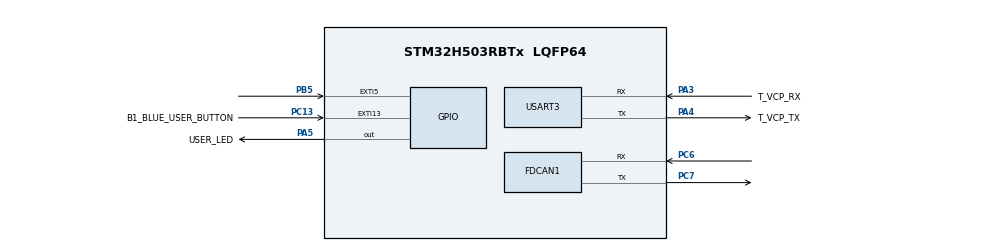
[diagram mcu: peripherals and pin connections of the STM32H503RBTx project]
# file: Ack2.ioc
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BOOTPATH.BootPathName=LEGACY
BOOTPATH.UserSelectedBootPath=LEGACY
FDCAN1.CalculateBaudRateNominal=500000
FDCAN1.CalculateTimeBitNominal=2000
FDCAN1.CalculateTimeQuantumNominal=125.0
FDCAN1.NominalPrescaler=25
FDCAN1.NominalTimeSeg1=13
FDCAN1.NominalTimeSeg2=2
Mcu.Family=STM32H5
Mcu.Name=STM32H503RBTx
Mcu.Package=LQFP64
NVIC.EXTI13_IRQn=true\:0\:0\:false\:false\:true\:true\:true\:true
NVIC.EXTI5_IRQn=true\:0\:0\:false\:false\:true\:true\:true\:true
NVIC.FDCAN1_IT0_IRQn=true\:0\:0\:false\:false\:true\:true\:true\:true
NVIC.PriorityGroup=NVIC_PRIORITYGROUP_4
NVIC.USART3_IRQn=true\:0\:0\:false\:false\:true\:true\:true\:true
PA3.GPIO_Label=T_VCP_RX
PA3.Mode=Asynchronous
PA3.Signal=USART3_RX
PA4.GPIO_Label=T_VCP_TX
PA4.Mode=Asynchronous
PA4.Signal=USART3_TX
PA5.GPIO_Label=USER_LED
PA5.Signal=GPIO_Output
PB5.GPIO_PuPd=GPIO_PULLUP
PB5.Signal=GPXTI5
PC13.GPIO_Label=B1_BLUE_USER_BUTTON
PC13.Signal=GPXTI13
PC6.Mode=FDCAN_Activate
PC6.Signal=FDCAN1_RX
PC7.Mode=FDCAN_Activate
PC7.Signal=FDCAN1_TX
PH0-OSC_IN(PH0).Mode=HSE-External-Oscillator
PH0-OSC_IN(PH0).Signal=RCC_OSC_IN
PH1-OSC_OUT(PH1).Mode=HSE-External-Oscillator
PH1-OSC_OUT(PH1).Signal=RCC_OSC_OUT
ProjectManager.HeapSize=0x200
ProjectManager.StackSize=0x400
ProjectManager.TargetToolchain=STM32CubeIDE
RCC.ADCFreq_Value=200000000
RCC.AHBFreq_Value=200000000
RCC.APB1Freq_Value=200000000
RCC.APB1TimFreq_Value=200000000
RCC.APB2Freq_Value=200000000
RCC.APB2TimFreq_Value=200000000
RCC.APB3Freq_Value=200000000
RCC.CSI_VALUE=4000000
RCC.CortexFreq_Value=200000000
RCC.EPOD_VALUE=24000000
RCC.FDCANClockSelection=RCC_FDCANCLKSOURCE_PLL1Q
RCC.HCLKFreq_Value=200000000
RCC.HSE_VALUE=24000000
RCC.HSI48_VALUE=48000000
RCC.HSIDiv=RCC_HSI_DIV1
RCC.HSI_VALUE=64000000
RCC.LSE_VALUE=32768
RCC.LSIRC_VALUE=32000
RCC.PLLFRACN=0
RCC.PLLM=3
RCC.PLLN=50
RCC.PLLSourceVirtual=RCC_PLL1_SOURCE_HSE
RCC.SYSCLKFreq_VALUE=200000000
RCC.SYSCLKSource=RCC_SYSCLKSOURCE_PLLCLK
RCC.USBFreq_Value=48000000
RCC.VCOOutputFreq_Value=400000000
USART3.VirtualMode-Asynchronous=VM_ASYNC
VP_BOOTPATH_VS_BOOTPATH.Mode=BP_Activate
VP_CORTEX_M33_NS_VS_Hclk.Mode=Hclk_Mode
VP_MEMORYMAP_VS_MEMORYMAP.Mode=CurAppReg
VP_PWR_VS_DBSignals.Mode=DisableDeadBatterySignals
VP_PWR_VS_LPOM.Mode=PowerOptimisation
VP_PWR_VS_SECSignals.Mode=Security/Privilege
board=NUCLEO-H503RB

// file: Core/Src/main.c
#include "main.h"
#include <stdio.h>

#define NODE_B

/*This is about filter not regard ack error*/

FDCAN_HandleTypeDef hfdcan1;
UART_HandleTypeDef huart3;
static void MX_FDCAN1_Init(void);
void SetFilter(uint16_t ID ,uint16_t msk);
void Test_Priority();
void TX_Send_CAN();
void Print_CAN_Error();

volatile uint8_t counter = 0;

volatile uint8_t value = 0;
typedef struct{
	FDCAN_TxHeaderTypeDef   TxHeader;
	FDCAN_RxHeaderTypeDef   RxHeader;
	uint32_t msgID;
	uint8_t dataTx[2];
	uint8_t dataRx[2];
} CAN_SET;

CAN_SET CAN_Payload;

int main(void)
{
  /* MCU Configuration--------------------------------------------------------*/

  /* Reset of all peripherals, Initializes the Flash interface and the Systick. */
  HAL_Init();
  /* Configure the system clock */
  SystemClock_Config();
  /* Initialize all configured peripherals */
  MX_GPIO_Init();
  MX_FDCAN1_Init();
  MX_USART3_UART_Init();

  CAN_Payload.dataTx[0] = 0x0;
  /* Infinite loop */
  while (1)
  {

  }
}

static void MX_FDCAN1_Init(void)
{

  hfdcan1.Instance = FDCAN1;
  hfdcan1.Init.ClockDivider = FDCAN_CLOCK_DIV1;
  hfdcan1.Init.FrameFormat = FDCAN_FRAME_CLASSIC;
  hfdcan1.Init.Mode = FDCAN_MODE_NORMAL;
  hfdcan1.Init.AutoRetransmission = DISABLE;
  hfdcan1.Init.TransmitPause = DISABLE;
  hfdcan1.Init.ProtocolException = DISABLE;
  hfdcan1.Init.NominalPrescaler = 25;
  hfdcan1.Init.NominalSyncJumpWidth = 1;
  hfdcan1.Init.NominalTimeSeg1 = 13;
  hfdcan1.Init.NominalTimeSeg2 = 2;
  hfdcan1.Init.DataPrescaler = 1;
  hfdcan1.Init.DataSyncJumpWidth = 1;
  hfdcan1.Init.DataTimeSeg1 = 1;
  hfdcan1.Init.DataTimeSeg2 = 1;
  hfdcan1.Init.StdFiltersNbr = 1;
  hfdcan1.Init.ExtFiltersNbr = 0;
  hfdcan1.Init.TxFifoQueueMode = FDCAN_TX_FIFO_OPERATION;
  if (HAL_FDCAN_Init(&hfdcan1) != HAL_OK)
  {
    Error_Handler();
  }

  SetFilter(0x105,0x7FF);
//  FDCAN_FilterTypeDef sFilterConfig;
//
//  sFilterConfig.IdType = FDCAN_STANDARD_ID;
//  sFilterConfig.FilterIndex = 0;
//  sFilterConfig.FilterType = FDCAN_FILTER_MASK;
//  sFilterConfig.FilterConfig = FDCAN_FILTER_TO_RXFIFO0;
//  sFilterConfig.FilterID1 = 0x10A;     // ID ที่จะรับ
//  sFilterConfig.FilterID2 = 0x7FF;    // Mask ทุกบิตต้องตรง

  // ตั้งค่าให้ reject ทุกอย่างนอกจากตรง filter

  if (HAL_FDCAN_Start(&hfdcan1) != HAL_OK) {
  	 /* Notification Error */
  	Error_Handler();
  }
  if (HAL_FDCAN_ActivateNotification(&hfdcan1, FDCAN_IT_RX_FIFO0_NEW_MESSAGE, 0) != HAL_OK)
  {
	/* Notification Error */
	Error_Handler();
  }
  /* USER CODE END FDCAN1_Init 2 */
}

/* USER CODE BEGIN 4 */
void SetFilter(uint16_t ID ,uint16_t msk){
	FDCAN_FilterTypeDef sFilterConfig;

	sFilterConfig.IdType = FDCAN_STANDARD_ID;
	sFilterConfig.FilterIndex = 0;
	sFilterConfig.FilterType = FDCAN_FILTER_MASK;
	sFilterConfig.FilterConfig = FDCAN_FILTER_TO_RXFIFO0;
	sFilterConfig.FilterID1 = ID;
	sFilterConfig.FilterID2 = msk;

	HAL_FDCAN_ConfigGlobalFilter(&hfdcan1,
	      FDCAN_REJECT,
	      FDCAN_REJECT,
	      FDCAN_REJECT_REMOTE,
	      FDCAN_REJECT_REMOTE
	  );

	if (HAL_FDCAN_ConfigFilter(&hfdcan1, &sFilterConfig) != HAL_OK)
	{
	  /* Filter configuration Error */
	  Error_Handler();
	}
}

void Test_Ack(){
	CAN_Payload.msgID = 0x1AA;
	TX_Send_CAN();
}

void TX_Send_CAN(){

    /* ----- Prepare CAN data --------------------------------------- */

    CAN_Payload.TxHeader.IdType = FDCAN_STANDARD_ID;
    CAN_Payload.TxHeader.Identifier = CAN_Payload.msgID; //CAN_Payload.msgID
    CAN_Payload.TxHeader.TxFrameType = FDCAN_DATA_FRAME;
    CAN_Payload.TxHeader.DataLength = FDCAN_DLC_BYTES_1;        // 8-byte payloaD
    CAN_Payload.TxHeader.ErrorStateIndicator = FDCAN_ESI_ACTIVE;
    CAN_Payload.TxHeader.BitRateSwitch = FDCAN_BRS_OFF;         // Disable BRS
    CAN_Payload.TxHeader.FDFormat = FDCAN_CLASSIC_CAN;          // Use Classical CAN frame
    CAN_Payload.TxHeader.TxEventFifoControl = FDCAN_NO_TX_EVENTS;
    CAN_Payload.TxHeader.MessageMarker = 0;

    CAN_Payload.dataTx[0] ^= 1;

    if (HAL_FDCAN_AddMessageToTxFifoQ(&hfdcan1, &CAN_Payload.TxHeader,CAN_Payload.dataTx)!= HAL_OK)
    {
    	Error_Handler();
    }
}

void HAL_GPIO_EXTI_Falling_Callback(uint16_t GPIO_Pin){

	if(GPIO_Pin == GPIO_PIN_5) {
	#ifdef NODE_A
		Test_Ack();
		Print_CAN_Error();
	#endif
	}
	if(GPIO_Pin == B1_BLUE_USER_BUTTON_Pin){

	#ifdef NODE_B
			if (counter == 1){
				 SetFilter(0x1AA,0x7FF);
				 value++;
			}else{
				 SetFilter(0x10F,0x7FF);
			}
			counter ^= 1;
	#endif
	}
}

void HAL_FDCAN_RxFifo0Callback(FDCAN_HandleTypeDef *hfdcan, uint32_t RxFifo0ITs)
{
	if((RxFifo0ITs & FDCAN_IT_RX_FIFO0_NEW_MESSAGE) != RESET)
	{
		/* Retreive Rx messages from RX FIFO0 */
		if (HAL_FDCAN_GetRxMessage(hfdcan, FDCAN_RX_FIFO0, &CAN_Payload.RxHeader,CAN_Payload.dataRx) != HAL_OK)
		{
			/* Reception Error */
			Error_Handler();
		}
		if (HAL_FDCAN_ActivateNotification(hfdcan, FDCAN_IT_RX_FIFO0_NEW_MESSAGE, 0) != HAL_OK)
		{
			/* Notification Error */
			Error_Handler();
		}
		printf("Received ID: 0x%03lX\n", CAN_Payload.RxHeader.Identifier);
		if(CAN_Payload.dataRx[0] == 0x1){
			HAL_GPIO_TogglePin(GPIOA, GPIO_PIN_5);
		}
	}
}

void Print_CAN_Error(void) {
    uint32_t lec = (FDCAN1->PSR >> 0) & 0x7;

    switch (lec) {
        case 0b000:
            printf("No CAN error occurred\r\n");
            break;
        case 0b001:
            printf("Stuff error: More than 5 equal bits in a row\r\n");
            break;
        case 0b010:
            printf("Form error: Wrong format in received frame\r\n");
            break;
        case 0b011:
            printf("Ack error: No ACK from other node\r\n");
            break;
        case 0b100:
            printf("Bit1 error: Sent recessive, bus was dominant\r\n");
            break;
        case 0b101:
            printf("Bit0 error: Sent dominant, bus was recessive\r\n");
            break;
        case 0b110:
            printf("CRC error: CRC mismatch on received frame\r\n");
            break;
        case 0b111:
            printf("LEC unchanged: No event since last read\r\n");
            break;
    }
}
int __io_putchar(int ch)
{
    HAL_UART_Transmit(&huart3, (uint8_t*)&ch, 1,1000);
    return ch;
}
/* USER CODE END 4 */

void Error_Handler(void)
{
  __disable_irq();
  while (1)
  {
  }
}
